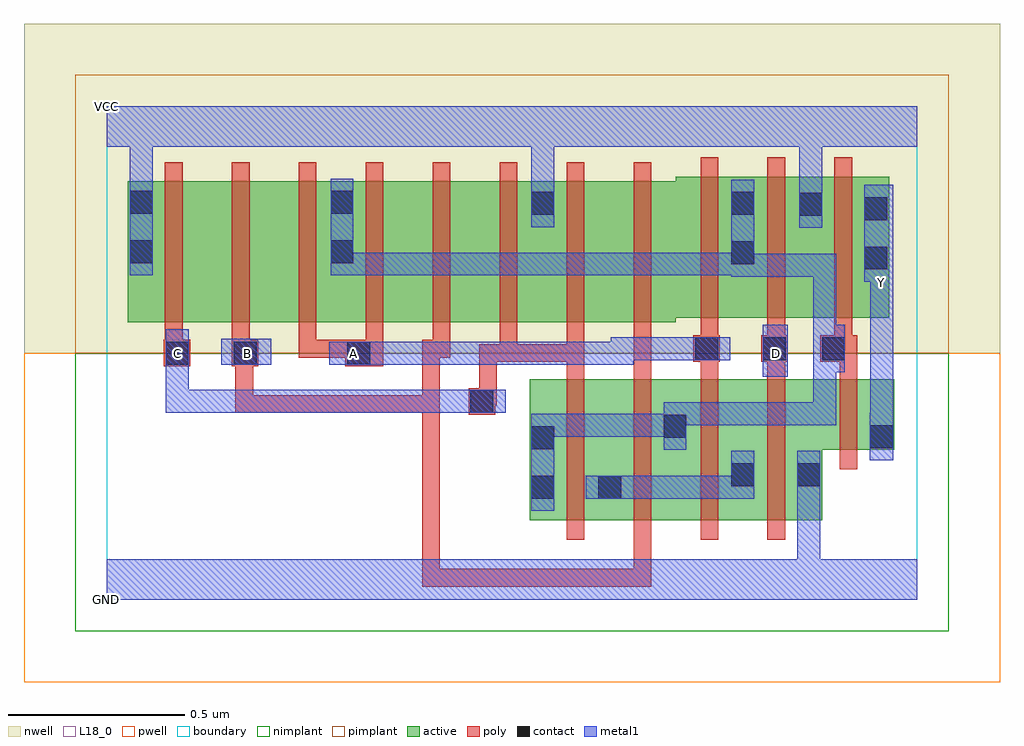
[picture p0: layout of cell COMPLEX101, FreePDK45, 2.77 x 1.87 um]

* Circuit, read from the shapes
.subckt COMPLEX101 A B C D GND VCC Y
M1 n1 C n2 VSUBS nfet w=0.4u l=0.05u
M2 n2 B n1 VSUBS nfet w=0.4u l=0.05u
M3 n1 A n2 VSUBS nfet w=0.4u l=0.05u
M4 GND D n1 VSUBS nfet w=0.4u l=0.05u
M5 Y n2 GND VSUBS nfet w=0.2u l=0.05u
M6 n3 C VCC n4 pfet w=0.4u l=0.05u
M7 n5 B n3 n4 pfet w=0.4u l=0.05u
M8 n2 A n5 n4 pfet w=0.4u l=0.05u
M9 n6 A n2 n4 pfet w=0.4u l=0.05u
M10 n7 B n6 n4 pfet w=0.4u l=0.05u
M11 VCC C n7 n4 pfet w=0.4u l=0.05u
M12 n8 C VCC n4 pfet w=0.4u l=0.05u
M13 n9 B n8 n4 pfet w=0.4u l=0.05u
M14 n2 A n9 n4 pfet w=0.4u l=0.05u
M15 VCC D n2 n4 pfet w=0.4u l=0.05u
M16 Y n2 VCC n4 pfet w=0.4u l=0.05u
.ends

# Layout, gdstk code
import gdstk
lib = gdstk.Library(unit=1e-6, precision=1e-09)
def R(c, l, rs):  # rectangles x0, y0, x1, y1
    for r in rs: c.add(gdstk.rectangle(r[:2], r[2:], *l))
def A(c, l, x, y, w, h, nx, ny, dx, dy):  # array of equal rectangles
    R(c, l, [(x+i*dx, y+j*dy, x+i*dx+w, y+j*dy+h) for i in range(nx) for j in range(ny)])
active = (1, 0)
pwell = (2, 0)
nwell = (3, 0)
nimplant = (4, 0)
pimplant = (5, 0)
poly = (9, 0)
contact = (10, 0)
metal1 = (11, 0)
L18_0 = (18, 0)
boundary = (235, 0)

complex101 = lib.new_cell('COMPLEX101')
A(complex101, active, 0.06, 0.787, 0.225, 0.4, 3, 1, 0.57, 0)
A(complex101, active, 0.285, 0.787, 0.19, 0.4, 3, 1, 0.57, 0)
R(complex101, active, [(1.2,0.225,1.465,0.625), (1.39,0.225,1.65,0.625), (1.575,0.225,1.842,0.625), (1.767,0.225,2.03,0.625), (1.955,0.225,2.03,0.597), (1.2,0.245,1.275,0.625), (1.39,0.245,1.465,0.537), (1.575,0.245,1.65,0.625), (1.767,0.245,1.842,0.492), (1.955,0.425,2.235,0.625), (2.16,0.425,2.235,0.625), (0.06,0.787,0.135,1.187), (0.475,0.787,0.705,1.187), (1.045,0.787,1.275,1.187), (1.615,0.8,1.842,1.2), (1.767,0.8,2.035,1.2), (1.96,0.8,2.22,1.2), (2.145,0.8,2.22,1.2), (0.63,0.907,0.705,1.187), (1.2,0.907,1.275,1.187), (1.767,0.907,1.842,1.2), (1.96,0.907,2.035,1.16)])
R(complex101, pwell, [(-0.235,-0.235,2.535,0.7)])
R(complex101, nwell, [(-0.235,0.7,2.535,1.635)])
R(complex101, nimplant, [(-0.09,-0.09,2.39,0.7)])
R(complex101, pimplant, [(-0.09,0.7,2.39,1.49)])
A(complex101, poly, 1.305, 0.17, 0.05, 0.51, 4, 1, 0.19, 0)
A(complex101, poly, 0.165, 0.687, 0.05, 0.095, 5, 1, 0.19, 0)
A(complex101, poly, 1.685, 0.7, 0.05, 0.095, 3, 1, 0.19, 0)
A(complex101, poly, 0.165, 0.732, 0.05, 0.51, 8, 1, 0.19, 0)
A(complex101, poly, 1.685, 0.745, 0.05, 0.51, 3, 1, 0.19, 0)
R(complex101, poly, [(0.895,0.037,0.945,0.087), (0.895,0.037,0.945,0.087), (0.895,0.037,0.945,0.087), (0.895,0.037,0.945,0.087), (0.895,0.037,0.945,0.087), (0.895,0.037,0.945,0.087), (0.895,0.037,0.945,0.087), (0.895,0.037,1.107,0.087), (0.895,0.037,0.945,0.58), (1.057,0.037,1.107,0.087), (1.057,0.037,1.107,0.087), (1.057,0.037,1.107,0.087), (1.057,0.037,1.412,0.087), (1.362,0.037,1.412,0.087), (1.362,0.037,1.545,0.087), (1.495,0.037,1.545,0.087), (1.495,0.037,1.545,0.087), (1.495,0.037,1.545,0.087), (1.495,0.037,1.545,0.22), (2.08,0.37,2.13,0.68), (1.027,0.525,1.102,0.6), (0.365,0.53,0.415,0.58), (0.365,0.53,0.415,0.58), (0.365,0.53,0.415,0.58), (0.365,0.53,0.547,0.58), (0.365,0.53,0.415,0.712), (0.497,0.53,0.547,0.58), (0.497,0.53,0.547,0.58), (0.497,0.53,0.547,0.58), (0.497,0.53,0.68,0.58), (0.63,0.53,0.68,0.58), (0.63,0.53,0.812,0.58), (0.762,0.53,0.812,0.58), (0.762,0.53,0.812,0.58), (0.762,0.53,0.812,0.58), (0.762,0.53,0.945,0.58), (0.895,0.53,0.945,0.58), (0.895,0.53,0.945,0.58), (0.895,0.53,0.945,0.58), (0.895,0.53,0.945,0.737), (1.052,0.55,1.102,0.6), (1.052,0.55,1.107,0.6), (1.057,0.55,1.107,0.725), (1.305,0.63,1.355,0.725), (1.495,0.63,1.545,0.737), (1.685,0.63,1.735,0.725), (1.875,0.63,1.925,0.725), (2.08,0.63,2.13,0.725), (0.162,0.662,0.237,0.737), (0.355,0.662,0.43,0.737), (0.677,0.662,0.785,0.737), (1.057,0.675,1.165,0.725), (1.115,0.675,1.165,0.782), (1.115,0.675,1.165,0.725), (1.115,0.675,1.165,0.725), (1.115,0.675,1.355,0.725), (1.305,0.675,1.355,0.782), (1.305,0.675,1.355,0.725), (1.665,0.675,1.74,0.75), (1.857,0.675,1.932,0.75), (2.025,0.675,2.13,0.75), (0.545,0.687,0.595,0.737), (0.545,0.687,0.68,0.737), (0.63,0.687,0.68,0.737), (0.63,0.687,0.727,0.737), (0.895,0.687,0.975,0.737), (1.495,0.687,1.545,0.782), (1.495,0.687,1.545,0.737)])
R(complex101, contact, [(1.205,0.287,1.27,0.352), (1.395,0.287,1.46,0.352), (1.772,0.322,1.837,0.387), (1.96,0.322,2.025,0.387), (1.205,0.427,1.27,0.492), (2.165,0.43,2.23,0.495), (1.58,0.46,1.645,0.525), (1.032,0.53,1.097,0.595), (0.167,0.667,0.232,0.732), (0.36,0.667,0.425,0.732), (0.682,0.667,0.747,0.732), (1.67,0.68,1.735,0.745), (1.862,0.68,1.927,0.745), (2.03,0.68,2.095,0.745), (2.15,0.937,2.215,1.002), (1.772,0.952,1.837,1.017), (0.065,0.955,0.13,1.02), (0.635,0.955,0.7,1.02), (2.15,1.077,2.215,1.142), (1.965,1.09,2.03,1.155), (1.205,1.092,1.27,1.157), (1.772,1.092,1.837,1.157), (0.065,1.095,0.13,1.16), (0.635,1.095,0.7,1.16)])
R(complex101, metal1, [(0,0,2.3,0.115), (1.96,0.05,2.025,0.352), (1.205,0.252,1.27,0.527), (1.36,0.287,1.495,0.352), (1.43,0.287,1.495,0.352), (1.43,0.287,1.495,0.352), (1.43,0.287,1.7,0.352), (1.635,0.287,1.7,0.352), (1.635,0.287,1.7,0.352), (1.635,0.287,1.7,0.352), (1.635,0.287,1.837,0.352), (1.772,0.287,1.837,0.422), (1.96,0.287,2.025,0.352), (1.96,0.287,2.025,0.352), (1.96,0.287,2.025,0.422), (2.165,0.395,2.232,0.53), (1.58,0.425,1.645,0.56), (1.205,0.462,1.332,0.527), (1.267,0.462,1.332,0.527), (1.267,0.462,1.495,0.527), (1.43,0.462,1.495,0.527), (1.43,0.462,1.495,0.527), (1.43,0.462,1.495,0.527), (1.43,0.462,1.645,0.527), (2.167,0.465,2.232,0.897), (1.58,0.495,1.645,0.56), (1.58,0.495,1.645,0.56), (1.58,0.495,1.837,0.56), (1.772,0.495,1.837,0.56), (1.772,0.495,1.837,0.56), (1.772,0.495,1.837,0.56), (1.772,0.495,2.07,0.56), (2.005,0.495,2.07,0.56), (2.005,0.495,2.07,0.71), (0.167,0.53,0.232,0.595), (0.167,0.53,0.37,0.595), (0.167,0.53,0.232,0.697), (0.305,0.53,0.37,0.595), (0.305,0.53,0.37,0.595), (0.305,0.53,0.37,0.595), (0.305,0.53,0.56,0.595), (0.495,0.53,0.56,0.595), (0.495,0.53,0.697,0.595), (0.632,0.53,0.697,0.595), (0.632,0.53,0.697,0.595), (0.632,0.53,0.697,0.595), (0.632,0.53,0.837,0.595), (0.772,0.53,0.837,0.595), (0.772,0.53,0.92,0.595), (0.855,0.53,0.92,0.595), (0.855,0.53,1.057,0.595), (0.992,0.53,1.057,0.595), (0.992,0.53,1.057,0.595), (0.992,0.53,1.057,0.595), (0.992,0.53,1.062,0.595), (0.997,0.53,1.132,0.595), (0.167,0.632,0.232,0.697), (0.167,0.632,0.232,0.697), (0.167,0.632,0.232,0.767), (1.862,0.632,1.932,0.78), (2.005,0.645,2.07,0.71), (2.005,0.645,2.095,0.71), (2.005,0.645,2.07,0.982), (2.03,0.645,2.095,0.78), (0.325,0.667,0.467,0.74), (0.632,0.667,0.782,0.732), (0.717,0.667,0.92,0.732), (0.855,0.667,0.92,0.732), (0.855,0.667,0.92,0.732), (0.855,0.667,0.92,0.732), (0.855,0.667,1.057,0.732), (0.992,0.667,1.057,0.732), (0.992,0.667,1.195,0.732), (1.13,0.667,1.195,0.732), (1.13,0.667,1.195,0.732), (1.13,0.667,1.195,0.732), (1.13,0.667,1.332,0.732), (1.267,0.667,1.332,0.732), (1.267,0.667,1.495,0.732), (1.43,0.667,1.495,0.732), (1.43,0.667,1.495,0.732), (1.43,0.667,1.495,0.745), (1.43,0.68,1.7,0.745), (1.635,0.68,1.7,0.745), (1.635,0.68,1.7,0.745), (1.635,0.68,1.77,0.745), (2.167,0.832,2.232,0.967), (2.15,0.902,2.232,1.177), (2.167,0.902,2.232,0.967), (1.772,0.917,1.837,0.982), (1.772,0.917,1.837,0.982), (1.772,0.917,2.07,0.982), (1.772,0.917,1.837,1.192), (2.005,0.917,2.07,0.982), (0.065,0.92,0.13,1.195), (0.635,0.92,0.7,0.985), (0.635,0.92,0.7,0.985), (0.635,0.92,0.7,1.195), (0.635,0.92,0.92,0.985), (0.855,0.92,0.92,0.985), (0.855,0.92,0.92,0.985), (0.855,0.92,0.92,0.985), (0.855,0.92,1.057,0.985), (0.992,0.92,1.057,0.985), (0.992,0.92,1.057,0.985), (0.992,0.92,1.057,0.985), (0.992,0.92,1.287,0.985), (1.222,0.92,1.287,0.985), (1.222,0.92,1.357,0.985), (1.292,0.92,1.357,0.985), (1.292,0.92,1.507,0.985), (1.442,0.92,1.507,0.985), (1.442,0.92,1.507,0.985), (1.442,0.92,1.507,0.985), (1.442,0.92,1.7,0.985), (1.635,0.92,1.7,0.985), (1.635,0.92,1.7,0.985), (1.635,0.92,1.7,0.985), (1.635,0.92,1.837,0.985), (1.965,1.055,2.03,1.19), (1.205,1.057,1.27,1.192), (1.965,1.125,2.03,1.35), (1.205,1.127,1.27,1.35), (0.065,1.13,0.13,1.35), (0,1.285,2.3,1.4)])
R(complex101, L18_0, [(0,0,2.3,0.115), (1.96,0.05,2.025,0.352), (1.96,0.287,2.025,0.422), (1.96,0.287,2.025,0.352), (1.96,0.287,2.025,0.352), (2.165,0.395,2.232,0.53), (2.167,0.465,2.232,0.897), (0.167,0.53,0.232,0.595), (0.167,0.53,0.232,0.697), (0.167,0.53,0.37,0.595), (0.305,0.53,0.37,0.595), (0.305,0.53,0.37,0.595), (0.305,0.53,0.37,0.595), (0.305,0.53,0.56,0.595), (0.495,0.53,0.56,0.595), (0.495,0.53,0.697,0.595), (0.632,0.53,0.697,0.595), (0.632,0.53,0.697,0.595), (0.632,0.53,0.697,0.595), (0.632,0.53,0.837,0.595), (0.772,0.53,0.837,0.595), (0.772,0.53,0.92,0.595), (0.855,0.53,0.92,0.595), (0.855,0.53,1.057,0.595), (0.992,0.53,1.057,0.595), (0.992,0.53,1.057,0.595), (0.992,0.53,1.057,0.595), (0.992,0.53,1.062,0.595), (0.997,0.53,1.132,0.595), (0.167,0.632,0.232,0.767), (0.167,0.632,0.232,0.697), (0.167,0.632,0.232,0.697), (1.862,0.632,1.932,0.78), (0.167,0.667,0.232,0.732), (0.325,0.667,0.467,0.74), (0.367,0.667,0.432,0.732), (0.632,0.667,0.782,0.732), (0.667,0.667,0.732,0.732), (0.717,0.667,0.92,0.732), (0.855,0.667,0.92,0.732), (0.855,0.667,0.92,0.732), (0.855,0.667,0.92,0.732), (0.855,0.667,1.057,0.732), (0.992,0.667,1.057,0.732), (0.992,0.667,1.195,0.732), (1.13,0.667,1.195,0.732), (1.13,0.667,1.195,0.732), (1.13,0.667,1.195,0.732), (1.13,0.667,1.332,0.732), (1.267,0.667,1.332,0.732), (1.267,0.667,1.495,0.732), (1.43,0.667,1.495,0.732), (1.43,0.667,1.495,0.732), (1.43,0.667,1.495,0.745), (1.867,0.667,1.932,0.732), (1.43,0.68,1.7,0.745), (1.635,0.68,1.7,0.745), (1.635,0.68,1.7,0.745), (1.635,0.68,1.77,0.745), (2.167,0.832,2.232,0.967), (2.167,0.867,2.232,0.932), (2.15,0.902,2.232,1.177), (2.167,0.902,2.232,0.967), (0.065,0.92,0.13,1.195), (1.965,1.055,2.03,1.19), (1.205,1.057,1.27,1.192), (1.965,1.125,2.03,1.35), (1.205,1.127,1.27,1.35), (0.065,1.13,0.13,1.35), (0,1.285,2.3,1.4)])
R(complex101, boundary, [(0,0,2.3,1.4)])
complex101.add(gdstk.Label('A', (0.7,0.7), layer=11, texttype=0))
complex101.add(gdstk.Label('B', (0.4,0.7), layer=11, texttype=0))
complex101.add(gdstk.Label('C', (0.2,0.7), layer=11, texttype=0))
complex101.add(gdstk.Label('D', (1.9,0.7), layer=11, texttype=0))
complex101.add(gdstk.Label('Y', (2.2,0.9), layer=11, texttype=0))
complex101.add(gdstk.Label('VCC', (0,1.4), layer=11, texttype=0))
complex101.add(gdstk.Label('GND', (0,0), layer=11, texttype=0))

lib.write_gds('COMPLEX101.gds')
